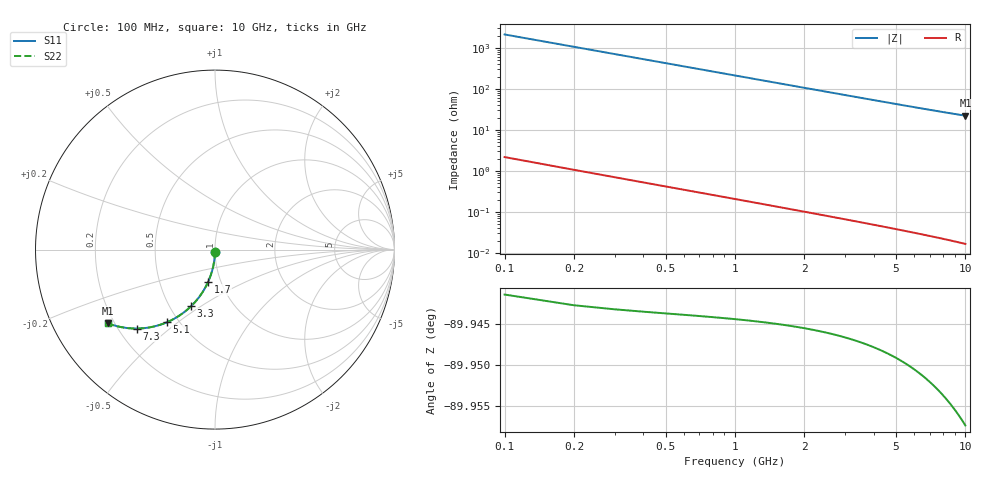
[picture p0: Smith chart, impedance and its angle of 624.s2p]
# Hz S RI R 50.00
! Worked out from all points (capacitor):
!   100 points, 100 MHz to 10 GHz, reference 50 ohm
!   read as one part in shunt: C = 749 fF near 100 MHz
!   lowest |Z| = 22.2 ohm at 10 GHz (marker M1)
!   S11 on the Smith chart (normalised r, x): 100 MHz: 1.00, -0.02; 1.7 GHz: 0.87, -0.32; 3.3 GHz: 0.64, -0.46; 5.1 GHz: 0.43, -0.46; 7.3 GHz: 0.27, -0.39; 10 GHz: 0.17, -0.30
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1e8  3.49e-05 -0.011  0.9997 -0.0125  0.9997 -0.0125  3.49e-05 -0.011
2e8  -0.000389 -0.022  0.9992 -0.025  0.9992 -0.025  -0.000389 -0.022
3e8  -0.00109 -0.033  0.9985 -0.0375  0.9985 -0.0375  -0.00109 -0.033
4e8  -0.00206 -0.044  0.9975 -0.0499  0.9975 -0.0499  -0.00206 -0.044
5e8  -0.00331 -0.0549  0.9963 -0.0624  0.9963 -0.0624  -0.00331 -0.0549
6e8  -0.00482 -0.0658  0.9948 -0.0747  0.9948 -0.0747  -0.00482 -0.0658
8e8  -0.00866 -0.0874  0.9909 -0.0993  0.9909 -0.0993  -0.00866 -0.0874
9e8  -0.011 -0.0981  0.9886 -0.1115  0.9886 -0.1115  -0.011 -0.0981
1.1e9  -0.0164 -0.1192  0.9831 -0.1356  0.9831 -0.1356  -0.0164 -0.1192
1.4e9  -0.0264 -0.1501  0.973 -0.171  0.973 -0.171  -0.0264 -0.1501
1.7e9  -0.0385 -0.18  0.9608 -0.2054  0.9608 -0.2054  -0.0385 -0.18
1.8e9  -0.043 -0.1897  0.9563 -0.2166  0.9563 -0.2166  -0.043 -0.1897
2.1e9  -0.0577 -0.2178  0.9414 -0.2492  0.9414 -0.2492  -0.0577 -0.2178
2.5e9  -0.08 -0.253  0.9189 -0.2904  0.9189 -0.2904  -0.08 -0.253
3.3e9  -0.1323 -0.3144  0.8661 -0.3639  0.8661 -0.3639  -0.1323 -0.3144
3.4e9  -0.1393 -0.3211  0.859 -0.3722  0.859 -0.3722  -0.1393 -0.3211
4.2e9  -0.199 -0.368  0.7985 -0.4313  0.7985 -0.4313  -0.199 -0.368
5.1e9  -0.2696 -0.4055  0.727 -0.4827  0.727 -0.4827  -0.2696 -0.4055
6.7e9  -0.3924 -0.4372  0.6019 -0.5395  0.6019 -0.5395  -0.3924 -0.4372
7.3e9  -0.4353 -0.4397  0.558 -0.5517  0.558 -0.5517  -0.4353 -0.4397
8.4e9  -0.5077 -0.4344  0.4834 -0.5642  0.4834 -0.5642  -0.5077 -0.4344
1e10  -0.5972 -0.4104  0.39 -0.5668  0.39 -0.5668  -0.5972 -0.4104
